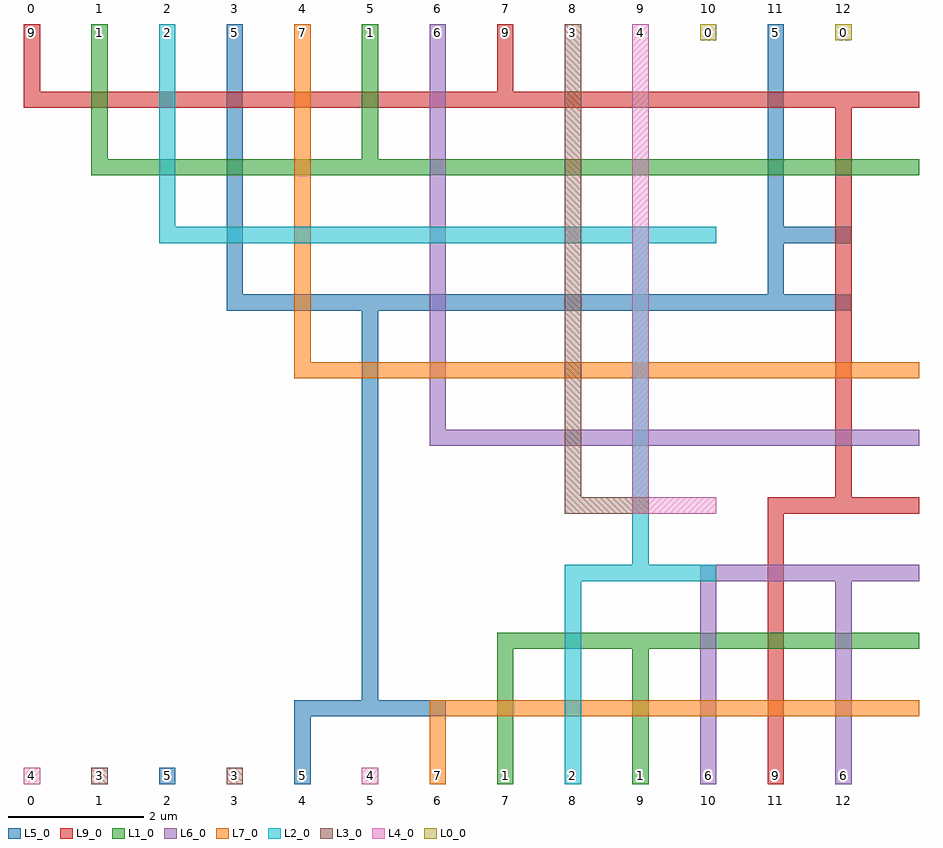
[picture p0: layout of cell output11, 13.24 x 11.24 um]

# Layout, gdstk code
import gdstk
lib = gdstk.Library(unit=1e-6, precision=1e-09)
def R(c, l, rs):  # rectangles x0, y0, x1, y1
    for r in rs: c.add(gdstk.rectangle(r[:2], r[2:], *l))
L0_0 = (0, 0)
L1_0 = (1, 0)
L2_0 = (2, 0)
L3_0 = (3, 0)
L4_0 = (4, 0)
L5_0 = (5, 0)
L6_0 = (6, 0)
L7_0 = (7, 0)
L9_0 = (9, 0)

output11 = lib.new_cell('output11')
R(output11, L0_0, [(9.88,10.88,10.12,11.12), (11.88,10.88,12.12,11.12)])
R(output11, L1_0, [(6.88,-0.12,7.12,2.12), (6.88,-0.12,7.12,0.12), (8.88,-0.12,9.12,2.12), (8.88,-0.12,9.12,0.12), (6.88,1.88,13.12,2.12), (0.88,8.88,1.12,11.12), (0.88,8.88,13.12,9.12), (4.88,8.88,5.12,11.12), (0.88,10.88,1.12,11.12), (4.88,10.88,5.12,11.12)])
R(output11, L2_0, [(7.88,-0.12,8.12,3.12), (7.88,-0.12,8.12,0.12), (7.88,2.88,10.12,3.12), (8.88,2.88,9.12,8.12), (1.88,7.88,2.12,11.12), (1.88,7.88,10.12,8.12), (1.88,10.88,2.12,11.12)])
R(output11, L3_0, [(0.88,-0.12,1.12,0.12), (2.88,-0.12,3.12,0.12), (7.88,3.88,8.12,11.12), (7.88,3.88,9.12,4.12), (7.88,10.88,8.12,11.12)])
R(output11, L4_0, [(-0.12,-0.12,0.12,0.12), (4.88,-0.12,5.12,0.12), (8.88,3.88,9.12,11.12), (8.88,3.88,10.12,4.12), (8.88,10.88,9.12,11.12)])
R(output11, L5_0, [(1.88,-0.12,2.12,0.12), (3.88,-0.12,4.12,1.12), (3.88,-0.12,4.12,0.12), (3.88,0.88,6.12,1.12), (4.88,0.88,5.12,7.12), (2.88,6.88,3.12,11.12), (2.88,6.88,12.12,7.12), (10.88,6.88,11.12,8.12), (10.88,7.88,11.12,11.12), (10.88,7.88,12.12,8.12), (2.88,10.88,3.12,11.12), (10.88,10.88,11.12,11.12)])
R(output11, L6_0, [(9.88,-0.12,10.12,3.12), (9.88,-0.12,10.12,0.12), (11.88,-0.12,12.12,3.12), (11.88,-0.12,12.12,0.12), (9.88,2.88,13.12,3.12), (5.88,4.88,6.12,11.12), (5.88,4.88,13.12,5.12), (5.88,10.88,6.12,11.12)])
R(output11, L7_0, [(5.88,-0.12,6.12,1.12), (5.88,-0.12,6.12,0.12), (5.88,0.88,13.12,1.12), (3.88,5.88,4.12,11.12), (3.88,5.88,13.12,6.12), (3.88,10.88,4.12,11.12)])
R(output11, L9_0, [(10.88,-0.12,11.12,4.12), (10.88,-0.12,11.12,0.12), (10.88,3.88,13.12,4.12), (11.88,3.88,12.12,10.12), (-0.12,9.88,0.12,11.12), (-0.12,9.88,13.12,10.12), (6.88,9.88,7.12,11.12), (-0.12,10.88,0.12,11.12), (6.88,10.88,7.12,11.12)])
output11.add(gdstk.Label('0', (0,11.4), layer=215, texttype=1))
output11.add(gdstk.Label('9', (0,11), layer=215, texttype=1))
output11.add(gdstk.Label('1', (1,11.4), layer=215, texttype=1))
output11.add(gdstk.Label('1', (1,11), layer=215, texttype=1))
output11.add(gdstk.Label('2', (2,11.4), layer=215, texttype=1))
output11.add(gdstk.Label('2', (2,11), layer=215, texttype=1))
output11.add(gdstk.Label('3', (3,11.4), layer=215, texttype=1))
output11.add(gdstk.Label('5', (3,11), layer=215, texttype=1))
output11.add(gdstk.Label('4', (4,11.4), layer=215, texttype=1))
output11.add(gdstk.Label('7', (4,11), layer=215, texttype=1))
output11.add(gdstk.Label('5', (5,11.4), layer=215, texttype=1))
output11.add(gdstk.Label('1', (5,11), layer=215, texttype=1))
output11.add(gdstk.Label('6', (6,11.4), layer=215, texttype=1))
output11.add(gdstk.Label('6', (6,11), layer=215, texttype=1))
output11.add(gdstk.Label('7', (7,11.4), layer=215, texttype=1))
output11.add(gdstk.Label('9', (7,11), layer=215, texttype=1))
output11.add(gdstk.Label('8', (8,11.4), layer=215, texttype=1))
output11.add(gdstk.Label('3', (8,11), layer=215, texttype=1))
output11.add(gdstk.Label('9', (9,11.4), layer=215, texttype=1))
output11.add(gdstk.Label('4', (9,11), layer=215, texttype=1))
output11.add(gdstk.Label('10', (10,11.4), layer=215, texttype=1))
output11.add(gdstk.Label('0', (10,11), layer=215, texttype=1))
output11.add(gdstk.Label('11', (11,11.4), layer=215, texttype=1))
output11.add(gdstk.Label('5', (11,11), layer=215, texttype=1))
output11.add(gdstk.Label('12', (12,11.4), layer=215, texttype=1))
output11.add(gdstk.Label('0', (12,11), layer=215, texttype=1))
output11.add(gdstk.Label('0', (0,-0.4), layer=215, texttype=1))
output11.add(gdstk.Label('4', (0,0), layer=215, texttype=1))
output11.add(gdstk.Label('1', (1,-0.4), layer=215, texttype=1))
output11.add(gdstk.Label('3', (1,0), layer=215, texttype=1))
output11.add(gdstk.Label('2', (2,-0.4), layer=215, texttype=1))
output11.add(gdstk.Label('5', (2,0), layer=215, texttype=1))
output11.add(gdstk.Label('3', (3,-0.4), layer=215, texttype=1))
output11.add(gdstk.Label('3', (3,0), layer=215, texttype=1))
output11.add(gdstk.Label('4', (4,-0.4), layer=215, texttype=1))
output11.add(gdstk.Label('5', (4,0), layer=215, texttype=1))
output11.add(gdstk.Label('5', (5,-0.4), layer=215, texttype=1))
output11.add(gdstk.Label('4', (5,0), layer=215, texttype=1))
output11.add(gdstk.Label('6', (6,-0.4), layer=215, texttype=1))
output11.add(gdstk.Label('7', (6,0), layer=215, texttype=1))
output11.add(gdstk.Label('7', (7,-0.4), layer=215, texttype=1))
output11.add(gdstk.Label('1', (7,0), layer=215, texttype=1))
output11.add(gdstk.Label('8', (8,-0.4), layer=215, texttype=1))
output11.add(gdstk.Label('2', (8,0), layer=215, texttype=1))
output11.add(gdstk.Label('9', (9,-0.4), layer=215, texttype=1))
output11.add(gdstk.Label('1', (9,0), layer=215, texttype=1))
output11.add(gdstk.Label('10', (10,-0.4), layer=215, texttype=1))
output11.add(gdstk.Label('6', (10,0), layer=215, texttype=1))
output11.add(gdstk.Label('11', (11,-0.4), layer=215, texttype=1))
output11.add(gdstk.Label('9', (11,0), layer=215, texttype=1))
output11.add(gdstk.Label('12', (12,-0.4), layer=215, texttype=1))
output11.add(gdstk.Label('6', (12,0), layer=215, texttype=1))

lib.write_gds('output11.gds')
